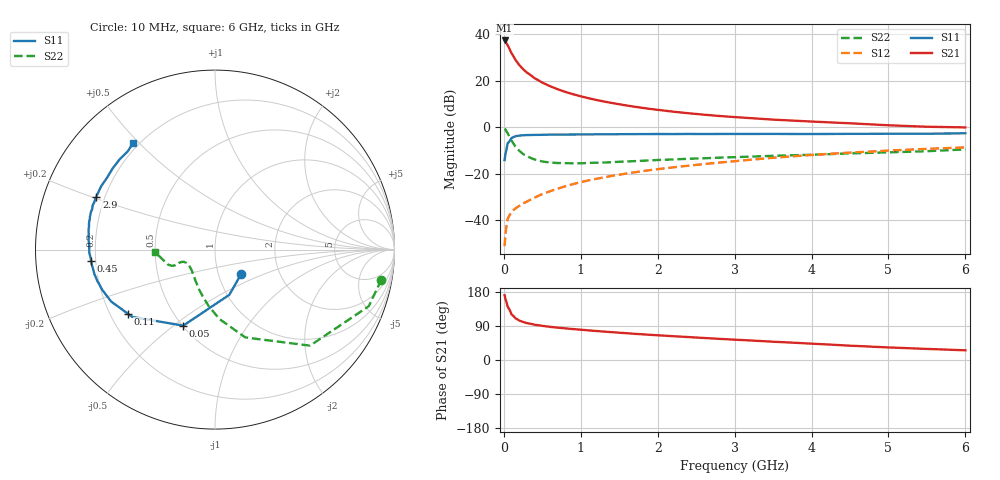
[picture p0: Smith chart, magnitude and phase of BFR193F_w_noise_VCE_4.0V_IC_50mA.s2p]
! Infineon Technologies  Discrete & RF Semiconductors
! BFR193F
! VCE =  4.0 V,  IC =  50 mA
! Common Emitter S-Parameters:  Jan 2017
# GHz  S  MA  R  50
!  f  S11  S21  S12  S22
! GHz  MAG  ANG  MAG  ANG  MAG  ANG  MAG  ANG
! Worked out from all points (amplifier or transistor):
!   77 points, 10 MHz to 6 GHz, reference 50 ohm
!   highest |S21| = 37.4 dB at 10 MHz (marker M1)
!   |S21| within 3 dB of that: start of sweep to 64.05 MHz
!   unconditionally stable (mu >= 1): 777.2 MHz to 2.617 GHz
!   at 130 MHz: K = 0.50, MSG = 32.9 dB, |S12| = -35.4 dB
!   at 2.2 GHz: K = 1.02, MAG = 11.2 dB, |S12| = -17.2 dB
!   at 6 GHz: K = 0.87, MSG = 4.3 dB, |S12| = -8.6 dB
!   lowest NFmin = 1.48 dB at 450 MHz
!   S11 on the Smith chart (normalised r, x): 10 MHz: 1.29, -0.36; 50 MHz: 0.50, -0.54; 110 MHz: 0.27, -0.31; 450 MHz: 0.18, -0.05; 2.9 GHz: 0.17, +0.21; 6 GHz: 0.18, +0.48
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0.01  0.1993 -42.7  74.18 170.9  0.0028 82.0  0.9424 -10.2
0.02  0.2645 -72.5  71.66 161.5  0.0049 73.9  0.9129 -20.2
0.05  0.4592 -112.7  58.39 140.3  0.0108 59.9  0.7528 -45.3
0.1  0.5942 -140.9  39.45 120.2  0.0152 53.1  0.5179 -70.9
0.11  0.6023 -143.6  37.2 118.7  0.0158 53.0  0.4897 -73.3
0.15  0.6468 -153.4  28.55 110.3  0.0181 52.6  0.3885 -86.2
0.2  0.6671 -160.4  22.11 104.2  0.0205 54.7  0.3167 -96.4
0.25  0.6785 -165.2  17.93 100.4  0.0232 57.1  0.2678 -105.0
0.3  0.6855 -168.5  15.12 97.4  0.0255 59.2  0.2401 -111.6
0.4  0.691 -173.0  11.44 93.1  0.0309 62.5  0.2041 -122.3
0.45  0.6925 -174.6  10.32 91.8  0.0339 64.3  0.1943 -126.1
0.6  0.7006 -178.6  7.715 87.5  0.0425 68.4  0.176 -136.5
0.7  0.701 179.2  6.623 85.3  0.0483 70.1  0.1718 -141.1
0.9  0.7062 175.9  5.176 81.6  0.0604 71.6  0.1697 -148.2
1.1  0.7084 173.2  4.253 78.2  0.0728 72.6  0.1728 -152.3
1.5  0.7166 168.5  3.15 72.0  0.0963 73.5  0.1828 -157.4
2.1  0.7212 162.6  2.286 64.1  0.1325 73.1  0.2023 -159.8
2.9  0.7241 155.9  1.717 54.7  0.1817 71.4  0.2268 -159.1
3.1  0.7242 154.2  1.63 52.6  0.1947 70.9  0.2326 -158.7
4.1  0.7232 145.5  1.316 42.1  0.2621 66.5  0.262 -160.2
5.1  0.7312 135.7  1.097 32.4  0.3232 60.7  0.2946 -168.8
6  0.7496 127.3  1.002 25.6  0.3724 55.3  0.3371 -177.6
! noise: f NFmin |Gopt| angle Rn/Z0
0.45  1.48  0.47  -179  0.07
0.9  1.56  0.48  -178  0.08
1.9  2.14  0.6  -163  0.09
2.4  2.45  0.62  -155  0.15
